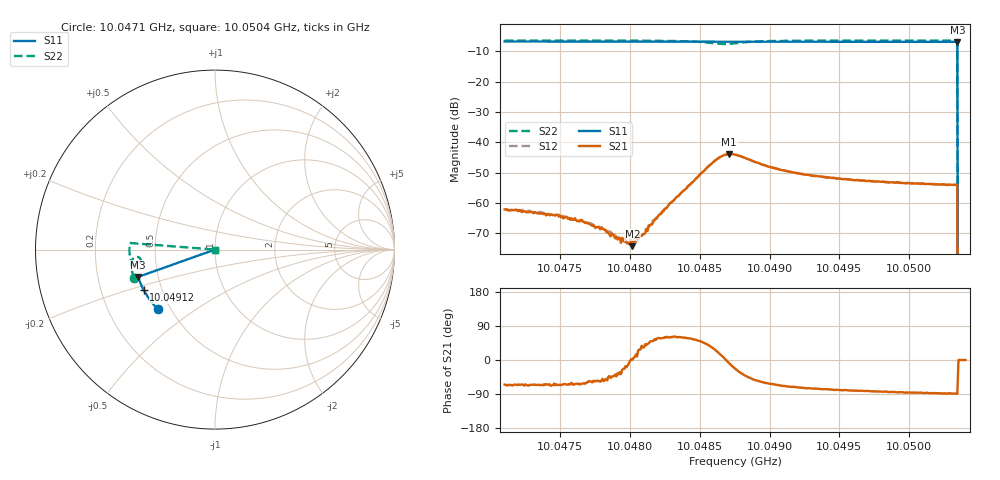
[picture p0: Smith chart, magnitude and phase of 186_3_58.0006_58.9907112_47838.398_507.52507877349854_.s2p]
#  HZ  S  RI  R  50.00
! Rohde & Schwarz Vector Network Analyzer
! Rohde-Schwarz,ZNB20-2Port,1311601062101988,3.16
! Created: UTC 3/21/2024, 12:58:39 AM
! freq[Hz]  re:S11  im:S11  re:S21  im:S21  re:S12  im:S12  re:S22  im:S22
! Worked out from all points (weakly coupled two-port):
!   401 points, 10.0471 GHz to 10.0504 GHz, reference 50 ohm
!   highest |S21| = -43.89 dB at 10.04871 GHz (marker M1); lowest = -74.3 dB at 10.04802 GHz (marker M2)
!   lowest |S11| = -6.8 dB at 10.05034 GHz (marker M3), VSWR 2.67, Z = 19.2 - j7.38 ohm
!   |S11| at or under -10 dB: 10.05034 GHz to end of sweep
!   |S22| runs from - to -6.4 dB; largest |S21 - S12| = 0.00045
!   S11 on the Smith chart (normalised r, x): 10.0471 GHz: 0.43, -0.36; 10.04912 GHz: 0.40, -0.23; 10.0504 GHz: 1.00, +0.00
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1.0047103e10  -0.318 -0.3331  0.000329 -0.000705  0.000398 -0.000694  -0.4514 -0.1606
1.0047367e10  -0.3299 -0.3204  0.000268 -0.00061  0.00031 -0.0006  -0.4568 -0.143
1.0047656e10  -0.3427 -0.306  0.00024 -0.000463  0.000266 -0.000429  -0.4617 -0.123
1.0047812e10  -0.3491 -0.2979  0.000207 -0.000307  0.000233 -0.000256  -0.4639 -0.1115
1.004787e10  -0.3513 -0.2948  0.000226 -0.000219  0.000226 -0.000221  -0.4646 -0.1071
1.0047961e10  -0.3552 -0.2902  0.000237 -0.000102  0.000221 -4.45e-05  -0.4655 -0.1
1.0047994e10  -0.3565 -0.2884  0.000206 -2.72e-05  0.000218 -2.93e-05  -0.4658 -0.0973
1.0048019e10  -0.3575 -0.2872  0.000193 2.17e-06  0.000253 1.85e-05  -0.4659 -0.0953
1.004806e10  -0.3591 -0.2849  0.000225 0.000109  0.000249 0.000139  -0.4663 -0.0919
1.0048109e10  -0.3611 -0.2824  0.000235 0.000209  0.000239 0.000249  -0.4663 -0.0876
1.0048208e10  -0.365 -0.2771  0.000336 0.000533  0.000337 0.00053  -0.4662 -0.0783
1.0048579e10  -0.3784 -0.2563  0.00354 0.00247  0.0034 0.00271  -0.4354 -0.0399
1.0048654e10  -0.3807 -0.2523  0.00568 0.00129  0.00563 0.00166  -0.417 -0.0503
1.0048711e10  -0.3828 -0.2492  0.00632 -0.000983  0.0064 -0.000609  -0.4147 -0.0691
1.0048753e10  -0.3841 -0.2472  0.00575 -0.00243  0.00591 -0.0021  -0.4222 -0.0796
1.0049116e10  -0.3963 -0.2265  0.00121 -0.00314  0.00141 -0.0031  -0.469 -0.0563
1.0049305e10  -0.4022 -0.2154  0.000714 -0.00272  0.000901 -0.00271  -0.4735 -0.0392
1.0049858e10  -0.4172 -0.1823  0.000187 -0.00216  0.000351 -0.00216  -0.4766 0.00318
1.0050328e10  -0.428 -0.1534  3.42e-05 -0.00198  0.000141 -0.002  -0.4754 0.0358
1.0050344e10  -0.4284 -0.1522  1.88e-05 -0.00197  0.000141 -0.002  -0.4752 0.037
1.0050369e10  0 0  0 0  0 0  0 0
1.0050402e10  0 0  0 0  0 0  0 0
